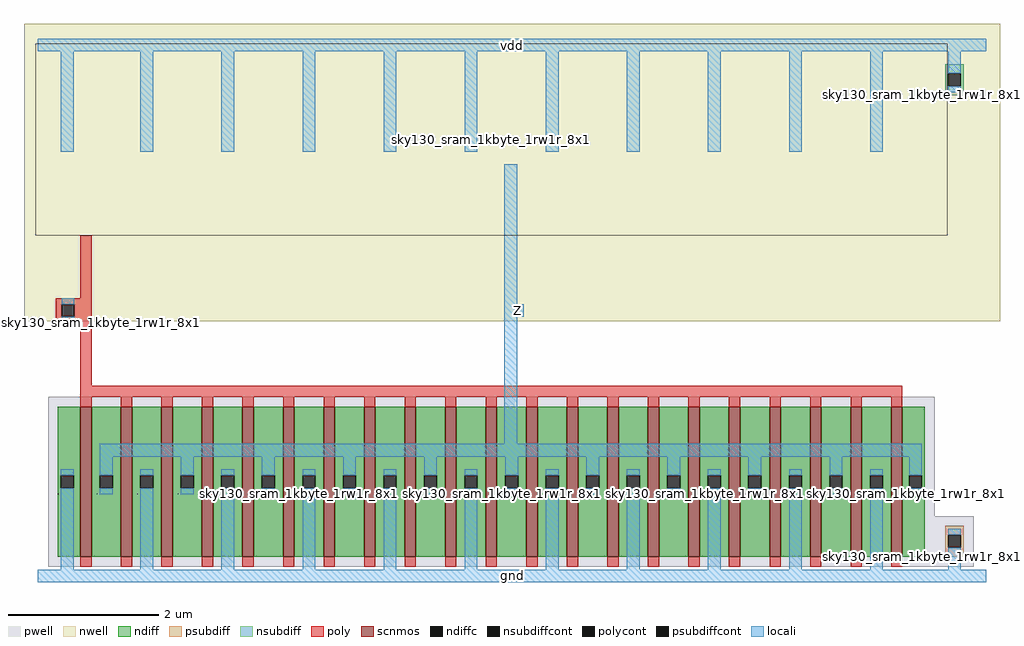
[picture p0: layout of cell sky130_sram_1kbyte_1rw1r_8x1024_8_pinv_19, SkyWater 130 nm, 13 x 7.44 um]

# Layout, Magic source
magic
tech sky130A
magscale 1 2
<< nwell >>
rect -36 679 2564 1471
<< pwell >>
rect 2392 25 2494 159
<< psubdiff >>
rect 2418 109 2468 133
rect 2418 75 2426 109
rect 2460 75 2468 109
rect 2418 51 2468 75
<< nsubdiff >>
rect 2418 1339 2468 1363
rect 2418 1305 2426 1339
rect 2460 1305 2468 1339
rect 2418 1281 2468 1305
<< psubdiffcont >>
rect 2426 75 2460 109
<< nsubdiffcont >>
rect 2426 1305 2460 1339
<< poly >>
rect 114 740 144 907
rect 48 724 144 740
rect 48 690 64 724
rect 98 690 144 724
rect 48 674 144 690
rect 114 507 144 674
<< polycont >>
rect 64 690 98 724
<< locali >>
rect 0 1397 2528 1431
rect 62 1130 96 1397
rect 274 1130 308 1397
rect 490 1130 524 1397
rect 706 1130 740 1397
rect 922 1130 956 1397
rect 1138 1130 1172 1397
rect 1354 1130 1388 1397
rect 1570 1130 1604 1397
rect 1786 1130 1820 1397
rect 2002 1130 2036 1397
rect 2218 1130 2252 1397
rect 2426 1339 2460 1397
rect 2426 1289 2460 1305
rect 64 724 98 740
rect 64 674 98 690
rect 1244 724 1278 1096
rect 1244 690 1295 724
rect 1244 318 1278 690
rect 62 17 96 218
rect 274 17 308 218
rect 490 17 524 218
rect 706 17 740 218
rect 922 17 956 218
rect 1138 17 1172 218
rect 1354 17 1388 218
rect 1570 17 1604 218
rect 1786 17 1820 218
rect 2002 17 2036 218
rect 2218 17 2252 218
rect 2426 109 2460 125
rect 2426 17 2460 75
rect 0 -17 2528 17
use sky130_sram_1kbyte_1rw1r_8x1024_8_contact_16  sky130_sram_1kbyte_1rw1r_8x1024_8_contact_16_0
transform 1 0 48 0 1 674
box 0 0 1 1
use sky130_sram_1kbyte_1rw1r_8x1024_8_contact_29  sky130_sram_1kbyte_1rw1r_8x1024_8_contact_29_0
transform 1 0 2418 0 1 51
box 0 0 1 1
use sky130_sram_1kbyte_1rw1r_8x1024_8_contact_28  sky130_sram_1kbyte_1rw1r_8x1024_8_contact_28_0
transform 1 0 2418 0 1 1281
box 0 0 1 1
use sky130_sram_1kbyte_1rw1r_8x1024_8_nmos_m21_w2_000_sli_dli_da_p  sky130_sram_1kbyte_1rw1r_8x1024_8_nmos_m21_w2_000_sli_dli_da_p_0
transform 1 0 54 0 1 51
box -26 -26 2336 456
use sky130_sram_1kbyte_1rw1r_8x1024_8_pmos_m21_w2_000_sli_dli_da_p  sky130_sram_1kbyte_1rw1r_8x1024_8_pmos_m21_w2_000_sli_dli_da_p_0
transform 1 0 54 0 1 963
box -59 -56 2369 454
<< labels >>
rlabel locali s 81 707 81 707 4 A
port 1 nsew
rlabel locali s 1278 707 1278 707 4 Z
port 2 nsew
rlabel locali s 1264 0 1264 0 4 gnd
port 3 nsew
rlabel locali s 1264 1414 1264 1414 4 vdd
port 4 nsew
<< properties >>
string FIXED_BBOX 0 0 2528 1414
string GDS_FILE $PDKPATH/libs.ref/sky130_sram_macros/gds/sky130_sram_1kbyte_1rw1r_8x1024_8.gds
string GDS_END 314374
string GDS_START 311224
<< end >>

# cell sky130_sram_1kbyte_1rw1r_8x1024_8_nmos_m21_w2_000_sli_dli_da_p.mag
magic
tech sky130A
magscale 1 2
<< pwell >>
rect -26 -26 2336 426
<< scnmos >>
rect 60 0 90 400
rect 168 0 198 400
rect 276 0 306 400
rect 384 0 414 400
rect 492 0 522 400
rect 600 0 630 400
rect 708 0 738 400
rect 816 0 846 400
rect 924 0 954 400
rect 1032 0 1062 400
rect 1140 0 1170 400
rect 1248 0 1278 400
rect 1356 0 1386 400
rect 1464 0 1494 400
rect 1572 0 1602 400
rect 1680 0 1710 400
rect 1788 0 1818 400
rect 1896 0 1926 400
rect 2004 0 2034 400
rect 2112 0 2142 400
rect 2220 0 2250 400
<< ndiff >>
rect 0 217 60 400
rect 0 183 8 217
rect 42 183 60 217
rect 0 0 60 183
rect 90 217 168 400
rect 90 183 112 217
rect 146 183 168 217
rect 90 0 168 183
rect 198 217 276 400
rect 198 183 220 217
rect 254 183 276 217
rect 198 0 276 183
rect 306 217 384 400
rect 306 183 328 217
rect 362 183 384 217
rect 306 0 384 183
rect 414 217 492 400
rect 414 183 436 217
rect 470 183 492 217
rect 414 0 492 183
rect 522 217 600 400
rect 522 183 544 217
rect 578 183 600 217
rect 522 0 600 183
rect 630 217 708 400
rect 630 183 652 217
rect 686 183 708 217
rect 630 0 708 183
rect 738 217 816 400
rect 738 183 760 217
rect 794 183 816 217
rect 738 0 816 183
rect 846 217 924 400
rect 846 183 868 217
rect 902 183 924 217
rect 846 0 924 183
rect 954 217 1032 400
rect 954 183 976 217
rect 1010 183 1032 217
rect 954 0 1032 183
rect 1062 217 1140 400
rect 1062 183 1084 217
rect 1118 183 1140 217
rect 1062 0 1140 183
rect 1170 217 1248 400
rect 1170 183 1192 217
rect 1226 183 1248 217
rect 1170 0 1248 183
rect 1278 217 1356 400
rect 1278 183 1300 217
rect 1334 183 1356 217
rect 1278 0 1356 183
rect 1386 217 1464 400
rect 1386 183 1408 217
rect 1442 183 1464 217
rect 1386 0 1464 183
rect 1494 217 1572 400
rect 1494 183 1516 217
rect 1550 183 1572 217
rect 1494 0 1572 183
rect 1602 217 1680 400
rect 1602 183 1624 217
rect 1658 183 1680 217
rect 1602 0 1680 183
rect 1710 217 1788 400
rect 1710 183 1732 217
rect 1766 183 1788 217
rect 1710 0 1788 183
rect 1818 217 1896 400
rect 1818 183 1840 217
rect 1874 183 1896 217
rect 1818 0 1896 183
rect 1926 217 2004 400
rect 1926 183 1948 217
rect 1982 183 2004 217
rect 1926 0 2004 183
rect 2034 217 2112 400
rect 2034 183 2056 217
rect 2090 183 2112 217
rect 2034 0 2112 183
rect 2142 217 2220 400
rect 2142 183 2164 217
rect 2198 183 2220 217
rect 2142 0 2220 183
rect 2250 217 2310 400
rect 2250 183 2268 217
rect 2302 183 2310 217
rect 2250 0 2310 183
<< ndiffc >>
rect 8 183 42 217
rect 112 183 146 217
rect 220 183 254 217
rect 328 183 362 217
rect 436 183 470 217
rect 544 183 578 217
rect 652 183 686 217
rect 760 183 794 217
rect 868 183 902 217
rect 976 183 1010 217
rect 1084 183 1118 217
rect 1192 183 1226 217
rect 1300 183 1334 217
rect 1408 183 1442 217
rect 1516 183 1550 217
rect 1624 183 1658 217
rect 1732 183 1766 217
rect 1840 183 1874 217
rect 1948 183 1982 217
rect 2056 183 2090 217
rect 2164 183 2198 217
rect 2268 183 2302 217
<< poly >>
rect 60 426 2250 456
rect 60 400 90 426
rect 168 400 198 426
rect 276 400 306 426
rect 384 400 414 426
rect 492 400 522 426
rect 600 400 630 426
rect 708 400 738 426
rect 816 400 846 426
rect 924 400 954 426
rect 1032 400 1062 426
rect 1140 400 1170 426
rect 1248 400 1278 426
rect 1356 400 1386 426
rect 1464 400 1494 426
rect 1572 400 1602 426
rect 1680 400 1710 426
rect 1788 400 1818 426
rect 1896 400 1926 426
rect 2004 400 2034 426
rect 2112 400 2142 426
rect 2220 400 2250 426
rect 60 -26 90 0
rect 168 -26 198 0
rect 276 -26 306 0
rect 384 -26 414 0
rect 492 -26 522 0
rect 600 -26 630 0
rect 708 -26 738 0
rect 816 -26 846 0
rect 924 -26 954 0
rect 1032 -26 1062 0
rect 1140 -26 1170 0
rect 1248 -26 1278 0
rect 1356 -26 1386 0
rect 1464 -26 1494 0
rect 1572 -26 1602 0
rect 1680 -26 1710 0
rect 1788 -26 1818 0
rect 1896 -26 1926 0
rect 2004 -26 2034 0
rect 2112 -26 2142 0
rect 2220 -26 2250 0
<< locali >>
rect 112 267 2302 301
rect 8 217 42 233
rect 8 167 42 183
rect 112 217 146 267
rect 112 167 146 183
rect 220 217 254 233
rect 220 167 254 183
rect 328 217 362 267
rect 328 167 362 183
rect 436 217 470 233
rect 436 167 470 183
rect 544 217 578 267
rect 544 167 578 183
rect 652 217 686 233
rect 652 167 686 183
rect 760 217 794 267
rect 760 167 794 183
rect 868 217 902 233
rect 868 167 902 183
rect 976 217 1010 267
rect 976 167 1010 183
rect 1084 217 1118 233
rect 1084 167 1118 183
rect 1192 217 1226 267
rect 1192 167 1226 183
rect 1300 217 1334 233
rect 1300 167 1334 183
rect 1408 217 1442 267
rect 1408 167 1442 183
rect 1516 217 1550 233
rect 1516 167 1550 183
rect 1624 217 1658 267
rect 1624 167 1658 183
rect 1732 217 1766 233
rect 1732 167 1766 183
rect 1840 217 1874 267
rect 1840 167 1874 183
rect 1948 217 1982 233
rect 1948 167 1982 183
rect 2056 217 2090 267
rect 2056 167 2090 183
rect 2164 217 2198 233
rect 2164 167 2198 183
rect 2268 217 2302 267
rect 2268 167 2302 183
use sky130_sram_1kbyte_1rw1r_8x1024_8_contact_11  sky130_sram_1kbyte_1rw1r_8x1024_8_contact_11_0
transform 1 0 2260 0 1 167
box 0 0 1 1
use sky130_sram_1kbyte_1rw1r_8x1024_8_contact_11  sky130_sram_1kbyte_1rw1r_8x1024_8_contact_11_1
transform 1 0 2156 0 1 167
box 0 0 1 1
use sky130_sram_1kbyte_1rw1r_8x1024_8_contact_11  sky130_sram_1kbyte_1rw1r_8x1024_8_contact_11_2
transform 1 0 2048 0 1 167
box 0 0 1 1
use sky130_sram_1kbyte_1rw1r_8x1024_8_contact_11  sky130_sram_1kbyte_1rw1r_8x1024_8_contact_11_3
transform 1 0 1940 0 1 167
box 0 0 1 1
use sky130_sram_1kbyte_1rw1r_8x1024_8_contact_11  sky130_sram_1kbyte_1rw1r_8x1024_8_contact_11_4
transform 1 0 1832 0 1 167
box 0 0 1 1
use sky130_sram_1kbyte_1rw1r_8x1024_8_contact_11  sky130_sram_1kbyte_1rw1r_8x1024_8_contact_11_5
transform 1 0 1724 0 1 167
box 0 0 1 1
use sky130_sram_1kbyte_1rw1r_8x1024_8_contact_11  sky130_sram_1kbyte_1rw1r_8x1024_8_contact_11_6
transform 1 0 1616 0 1 167
box 0 0 1 1
use sky130_sram_1kbyte_1rw1r_8x1024_8_contact_11  sky130_sram_1kbyte_1rw1r_8x1024_8_contact_11_7
transform 1 0 1508 0 1 167
box 0 0 1 1
use sky130_sram_1kbyte_1rw1r_8x1024_8_contact_11  sky130_sram_1kbyte_1rw1r_8x1024_8_contact_11_8
transform 1 0 1400 0 1 167
box 0 0 1 1
use sky130_sram_1kbyte_1rw1r_8x1024_8_contact_11  sky130_sram_1kbyte_1rw1r_8x1024_8_contact_11_9
transform 1 0 1292 0 1 167
box 0 0 1 1
use sky130_sram_1kbyte_1rw1r_8x1024_8_contact_11  sky130_sram_1kbyte_1rw1r_8x1024_8_contact_11_10
transform 1 0 1184 0 1 167
box 0 0 1 1
use sky130_sram_1kbyte_1rw1r_8x1024_8_contact_11  sky130_sram_1kbyte_1rw1r_8x1024_8_contact_11_11
transform 1 0 1076 0 1 167
box 0 0 1 1
use sky130_sram_1kbyte_1rw1r_8x1024_8_contact_11  sky130_sram_1kbyte_1rw1r_8x1024_8_contact_11_12
transform 1 0 968 0 1 167
box 0 0 1 1
use sky130_sram_1kbyte_1rw1r_8x1024_8_contact_11  sky130_sram_1kbyte_1rw1r_8x1024_8_contact_11_13
transform 1 0 860 0 1 167
box 0 0 1 1
use sky130_sram_1kbyte_1rw1r_8x1024_8_contact_11  sky130_sram_1kbyte_1rw1r_8x1024_8_contact_11_14
transform 1 0 752 0 1 167
box 0 0 1 1
use sky130_sram_1kbyte_1rw1r_8x1024_8_contact_11  sky130_sram_1kbyte_1rw1r_8x1024_8_contact_11_15
transform 1 0 644 0 1 167
box 0 0 1 1
use sky130_sram_1kbyte_1rw1r_8x1024_8_contact_11  sky130_sram_1kbyte_1rw1r_8x1024_8_contact_11_16
transform 1 0 536 0 1 167
box 0 0 1 1
use sky130_sram_1kbyte_1rw1r_8x1024_8_contact_11  sky130_sram_1kbyte_1rw1r_8x1024_8_contact_11_17
transform 1 0 428 0 1 167
box 0 0 1 1
use sky130_sram_1kbyte_1rw1r_8x1024_8_contact_11  sky130_sram_1kbyte_1rw1r_8x1024_8_contact_11_18
transform 1 0 320 0 1 167
box 0 0 1 1
use sky130_sram_1kbyte_1rw1r_8x1024_8_contact_11  sky130_sram_1kbyte_1rw1r_8x1024_8_contact_11_19
transform 1 0 212 0 1 167
box 0 0 1 1
use sky130_sram_1kbyte_1rw1r_8x1024_8_contact_11  sky130_sram_1kbyte_1rw1r_8x1024_8_contact_11_20
transform 1 0 104 0 1 167
box 0 0 1 1
use sky130_sram_1kbyte_1rw1r_8x1024_8_contact_11  sky130_sram_1kbyte_1rw1r_8x1024_8_contact_11_21
transform 1 0 0 0 1 167
box 0 0 1 1
<< labels >>
rlabel locali s 25 200 25 200 4 S
port 1 nsew
rlabel locali s 885 200 885 200 4 S
port 1 nsew
rlabel locali s 1749 200 1749 200 4 S
port 1 nsew
rlabel locali s 2181 200 2181 200 4 S
port 1 nsew
rlabel locali s 1965 200 1965 200 4 S
port 1 nsew
rlabel locali s 1317 200 1317 200 4 S
port 1 nsew
rlabel locali s 237 200 237 200 4 S
port 1 nsew
rlabel locali s 1101 200 1101 200 4 S
port 1 nsew
rlabel locali s 453 200 453 200 4 S
port 1 nsew
rlabel locali s 669 200 669 200 4 S
port 1 nsew
rlabel locali s 1533 200 1533 200 4 S
port 1 nsew
rlabel locali s 1207 284 1207 284 4 D
port 2 nsew
rlabel poly s 1155 441 1155 441 4 G
port 3 nsew
<< properties >>
string FIXED_BBOX -25 -26 2335 456
string GDS_FILE $PDKPATH/libs.ref/sky130_sram_macros/gds/sky130_sram_1kbyte_1rw1r_8x1024_8.gds
string GDS_END 64574
string GDS_START 59234
<< end >>
